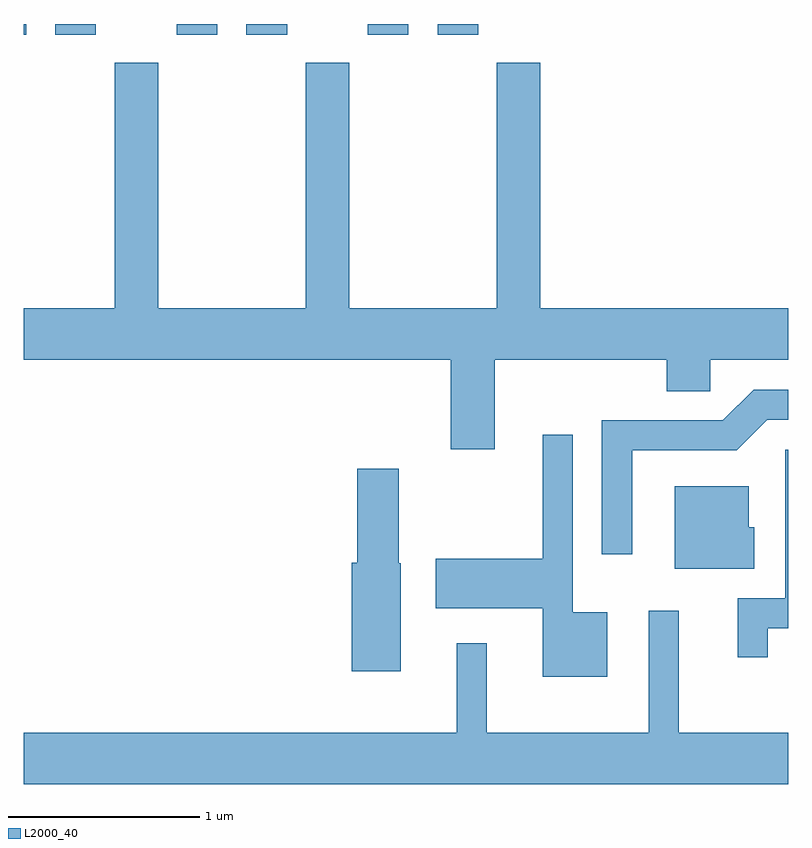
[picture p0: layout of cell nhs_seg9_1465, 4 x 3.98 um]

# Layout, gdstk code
import gdstk
lib = gdstk.Library(unit=1e-6, precision=1e-09)
def R(c, l, rs):  # rectangles x0, y0, x1, y1
    for r in rs: c.add(gdstk.rectangle(r[:2], r[2:], *l))
def P(c, l, *ps):  # polygons
    for p in ps: c.add(gdstk.Polygon(p, *l))
L2000_40 = (2000, 40)

nhs_seg9_1465 = lib.new_cell('nhs_seg9_1465')
R(nhs_seg9_1465, L2000_40, [(227.611,2022.376,227.624,2022.432), (227.776,2022.376,227.989,2022.432), (228.411,2022.376,228.624,2022.432), (228.776,2022.376,228.989,2022.432), (229.411,2022.376,229.624,2022.432), (229.776,2022.376,229.989,2022.432)])
P(nhs_seg9_1465, L2000_40, [(230.074,2020.676),(230.976,2020.676),(230.976,2020.511),(231.204,2020.511),(231.204,2020.676),(231.611,2020.676),(231.611,2020.944),(230.314,2020.944),(230.314,2022.229),(230.086,2022.229),(230.086,2020.944),(229.314,2020.944),(229.314,2022.229),(229.086,2022.229),(229.086,2020.944),(228.314,2020.944),(228.314,2022.229),(228.086,2022.229),(228.086,2020.944),(227.611,2020.944),(227.611,2020.676),(229.846,2020.676),(229.846,2020.206),(230.074,2020.206)],
  [(230.794,2020.201),(231.342,2020.201),(231.502,2020.361),(231.611,2020.361),(231.611,2020.519),(231.429,2020.519),(231.269,2020.359),(230.636,2020.359),(230.636,2019.658),(230.794,2019.658)],
  [(230.664,2019.354),(230.484,2019.354),(230.484,2020.283),(230.326,2020.283),(230.326,2019.634),(229.766,2019.634),(229.766,2019.376),(230.326,2019.376),(230.326,2019.016),(230.664,2019.016)],
  [(231.504,2019.271),(231.611,2019.271),(231.611,2020.204),(231.596,2020.204),(231.596,2019.429),(231.346,2019.429),(231.346,2019.118),(231.504,2019.118)],
  [(229.584,2019.61),(229.574,2019.61),(229.574,2020.104),(229.356,2020.104),(229.356,2019.614),(229.326,2019.614),(229.326,2019.046),(229.584,2019.046)],
  [(231.434,2019.799),(231.404,2019.799),(231.404,2020.014),(231.016,2020.014),(231.016,2019.581),(231.434,2019.581)],
  [(231.611,2018.724),(231.039,2018.724),(231.039,2019.363),(230.881,2019.363),(230.881,2018.724),(230.034,2018.724),(230.034,2019.193),(229.876,2019.193),(229.876,2018.724),(227.611,2018.724),(227.611,2018.456),(231.611,2018.456)])

lib.write_gds('nhs_seg9_1465.gds')
